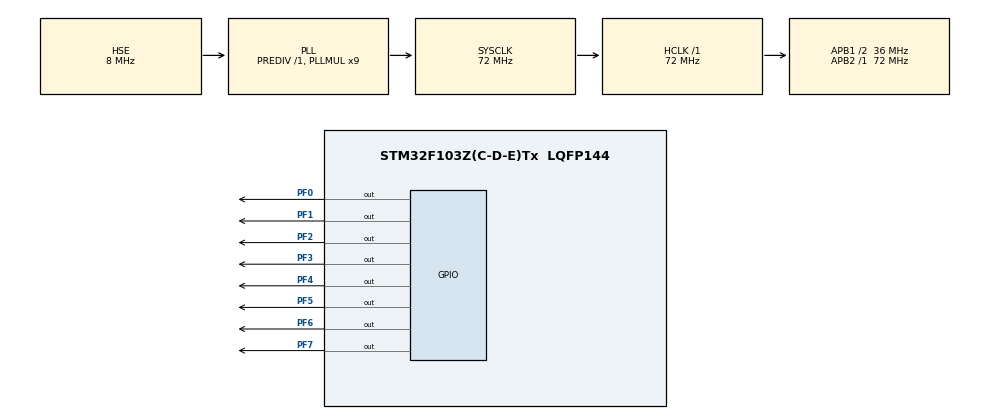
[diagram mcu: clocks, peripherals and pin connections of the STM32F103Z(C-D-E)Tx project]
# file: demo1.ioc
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Mcu.Family=STM32F1
Mcu.Name=STM32F103Z(C-D-E)Tx
Mcu.Package=LQFP144
NVIC.PriorityGroup=NVIC_PRIORITYGROUP_4
OSC_IN.Mode=HSE-External-Oscillator
OSC_IN.Signal=RCC_OSC_IN
OSC_OUT.Mode=HSE-External-Oscillator
OSC_OUT.Signal=RCC_OSC_OUT
PA13.Mode=Serial_Wire
PA13.Signal=SYS_JTMS-SWDIO
PA14.Mode=Serial_Wire
PA14.Signal=SYS_JTCK-SWCLK
PF0.Signal=GPIO_Output
PF1.Signal=GPIO_Output
PF2.Signal=GPIO_Output
PF3.Signal=GPIO_Output
PF4.Signal=GPIO_Output
PF5.Signal=GPIO_Output
PF6.Signal=GPIO_Output
PF7.Signal=GPIO_Output
ProjectManager.HeapSize=0x200
ProjectManager.StackSize=0x400
ProjectManager.TargetToolchain=MDK-ARM V5.32
RCC.AHBFreq_Value=72000000
RCC.APB1CLKDivider=RCC_HCLK_DIV2
RCC.APB1Freq_Value=36000000
RCC.APB1TimFreq_Value=72000000
RCC.APB2Freq_Value=72000000
RCC.APB2TimFreq_Value=72000000
RCC.HCLKFreq_Value=72000000
RCC.PLLMUL=RCC_PLL_MUL9
RCC.PLLSourceVirtual=RCC_PLLSOURCE_HSE
RCC.SYSCLKFreq_VALUE=72000000
RCC.SYSCLKSource=RCC_SYSCLKSOURCE_PLLCLK
RCC.USBFreq_Value=72000000
board=custom

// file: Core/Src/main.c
/* USER CODE BEGIN Header */
/**
  ******************************************************************************
  * @file           : main.c
  * @brief          : Main program body
  ******************************************************************************
  * @attention
  *
  * Copyright (c) 2025 STMicroelectronics.
  * All rights reserved.
  *
  * This software is licensed under terms that can be found in the LICENSE file
  * in the root directory of this software component.
  * If no LICENSE file comes with this software, it is provided AS-IS.
  *
  ******************************************************************************
  */
/* USER CODE END Header */
#include "main.h"
#include "gpio.h"

/* USER CODE BEGIN Includes */
#include <includes.h>
#include "stm32f1xx_hal.h"
/* USER CODE END Includes */

/* USER CODE BEGIN PD */
#define START_TASK_PRIO        3
#define LED0_TASK_PRIO        4
#define MSG_TASK_PRIO        5

/* 任务堆栈大小    */
#define START_STK_SIZE         64
#define LED0_STK_SIZE         64
#define MSG_STK_SIZE         64//任务堆大小过大会报错，可以试着改小一点

/* 任务栈 */
CPU_STK START_TASK_STK[START_STK_SIZE];
CPU_STK LED0_TASK_STK[LED0_STK_SIZE];
CPU_STK MSG_TASK_STK[MSG_STK_SIZE];
/* 任务控制块 */
OS_TCB StartTaskTCB;
OS_TCB Led0TaskTCB;
OS_TCB MsgTaskTCB;
/* USER CODE END PD */

/* USER CODE BEGIN PV */

/* 任务函数定义 */
void start_task(void *p_arg);
static  void  AppTaskCreate(void);
static  void  AppObjCreate(void);
static  void  led_pc13(void *p_arg);
static  void  send_msg(void *p_arg);

/* USER CODE END PV */

void SystemClock_Config(void);

int main(void)
{
  /* USER CODE BEGIN 1 */
    OS_ERR  err;
    OSInit(&err);
  /* USER CODE END 1 */

  /* MCU Configuration--------------------------------------------------------*/

  /* Reset of all peripherals, Initializes the Flash interface and the Systick. */
  HAL_Init();

  /* Configure the system clock */
  SystemClock_Config();

  /* Initialize all configured peripherals */
  MX_GPIO_Init();
  /* USER CODE BEGIN 2 */

    /* 创建任务 */
    OSTaskCreate((OS_TCB     *)&StartTaskTCB,                /* Create the start task                                */
                 (CPU_CHAR   *)"start task",
                 (OS_TASK_PTR ) start_task,
                 (void       *) 0,
                 (OS_PRIO     ) START_TASK_PRIO,
                 (CPU_STK    *)&START_TASK_STK[0],
                 (CPU_STK_SIZE) START_STK_SIZE/10,
                 (CPU_STK_SIZE) START_STK_SIZE,
                 (OS_MSG_QTY  ) 0,
                 (OS_TICK     ) 0,
                 (void       *) 0,
                 (OS_OPT      )(OS_OPT_TASK_STK_CHK | OS_OPT_TASK_STK_CLR),
                 (OS_ERR     *)&err);
    /* 启动多任务系统，控制权交给uC/OS-III */
    OSStart(&err);            /* Start multitasking (i.e. give control to uC/OS-III). */

  /* USER CODE END 2 */

  /* Infinite loop */
  while (1)
  {

  }
}

void SystemClock_Config(void)
{
  RCC_OscInitTypeDef RCC_OscInitStruct = {0};
  RCC_ClkInitTypeDef RCC_ClkInitStruct = {0};

  /** Initializes the RCC Oscillators according to the specified parameters
  * in the RCC_OscInitTypeDef structure.
  */
  RCC_OscInitStruct.OscillatorType = RCC_OSCILLATORTYPE_HSE;
  RCC_OscInitStruct.HSEState = RCC_HSE_ON;
  RCC_OscInitStruct.HSEPredivValue = RCC_HSE_PREDIV_DIV1;
  RCC_OscInitStruct.HSIState = RCC_HSI_ON;
  RCC_OscInitStruct.PLL.PLLState = RCC_PLL_ON;
  RCC_OscInitStruct.PLL.PLLSource = RCC_PLLSOURCE_HSE;
  RCC_OscInitStruct.PLL.PLLMUL = RCC_PLL_MUL9;
  if (HAL_RCC_OscConfig(&RCC_OscInitStruct) != HAL_OK)
  {
    Error_Handler();
  }

  /** Initializes the CPU, AHB and APB buses clocks
  */
  RCC_ClkInitStruct.ClockType = RCC_CLOCKTYPE_HCLK|RCC_CLOCKTYPE_SYSCLK
                              |RCC_CLOCKTYPE_PCLK1|RCC_CLOCKTYPE_PCLK2;
  RCC_ClkInitStruct.SYSCLKSource = RCC_SYSCLKSOURCE_PLLCLK;
  RCC_ClkInitStruct.AHBCLKDivider = RCC_SYSCLK_DIV1;
  RCC_ClkInitStruct.APB1CLKDivider = RCC_HCLK_DIV2;
  RCC_ClkInitStruct.APB2CLKDivider = RCC_HCLK_DIV1;

  if (HAL_RCC_ClockConfig(&RCC_ClkInitStruct, FLASH_LATENCY_2) != HAL_OK)
  {
    Error_Handler();
  }
}

/* USER CODE BEGIN 4 */

void start_task(void *p_arg)
{
    OS_ERR err;
    CPU_SR_ALLOC();
    p_arg = p_arg;

    /* YangJie add 2021.05.20*/
  BSP_Init();                                                   /* Initialize BSP functions */
  //CPU_Init();
  //Mem_Init();                                                 /* Initialize Memory Management Module */

#if OS_CFG_STAT_TASK_EN > 0u
   OSStatTaskCPUUsageInit(&err);          //统计任务
#endif

#ifdef CPU_CFG_INT_DIS_MEAS_EN            //如果使能了测量中断关闭时间
    CPU_IntDisMeasMaxCurReset();
#endif

#if    OS_CFG_SCHED_ROUND_ROBIN_EN          //当使用时间片轮转的时候
     //使能时间片轮转调度功能,时间片长度为1个系统时钟节拍，既1*5=5ms
    OSSchedRoundRobinCfg(DEF_ENABLED,1,&err);
#endif

    OS_CRITICAL_ENTER();    //进入临界区
    /* 创建LED0任务 */
    OSTaskCreate((OS_TCB     * )&Led0TaskTCB,
                 (CPU_CHAR    * )"led_pc13",
                 (OS_TASK_PTR )led_pc13,
                 (void        * )0,
                 (OS_PRIO      )LED0_TASK_PRIO,
                 (CPU_STK   * )&LED0_TASK_STK[0],
                 (CPU_STK_SIZE)LED0_STK_SIZE/10,
                 (CPU_STK_SIZE)LED0_STK_SIZE,
                 (OS_MSG_QTY  )0,
                 (OS_TICK      )0,
                 (void       * )0,
                 (OS_OPT      )OS_OPT_TASK_STK_CHK|OS_OPT_TASK_STK_CLR,
                 (OS_ERR     * )&err);

//    /* 创建LED1任务 */
//    OSTaskCreate((OS_TCB     * )&MsgTaskTCB,
//                 (CPU_CHAR    * )"send_msg",
//                 (OS_TASK_PTR )send_msg,
//                 (void        * )0,
//                 (OS_PRIO      )MSG_TASK_PRIO,
//                 (CPU_STK   * )&MSG_TASK_STK[0],
//                 (CPU_STK_SIZE)MSG_STK_SIZE/10,
//                 (CPU_STK_SIZE)MSG_STK_SIZE,
//                 (OS_MSG_QTY  )0,
//                 (OS_TICK      )0,
//                 (void       * )0,
//                 (OS_OPT      )OS_OPT_TASK_STK_CHK|OS_OPT_TASK_STK_CLR,
//                 (OS_ERR     * )&err);
//
//    OS_TaskSuspend((OS_TCB*)&StartTaskTCB,&err);        //挂起开始任务
//    OS_CRITICAL_EXIT();    //进入临界区
}

/**
  * 函数功能: 启动任务函数体。
  * 输入参数: p_arg 是在创建该任务时传递的形参
  * 返 回 值: 无
  * 说    明：无
  */
static  void  led_pc13 (void *p_arg)
{
  OS_ERR      err;

  (void)p_arg;

  BSP_Init();                                                 /* Initialize BSP functions                             */
  CPU_Init();

  Mem_Init();                                                 /* Initialize Memory Management Module                  */

#if OS_CFG_STAT_TASK_EN > 0u
  OSStatTaskCPUUsageInit(&err);                               /* Compute CPU capacity with no task running            */
#endif

  CPU_IntDisMeasMaxCurReset();

  AppTaskCreate();                                            /* Create Application Tasks                             */

  AppObjCreate();                                             /* Create Application Objects                           */

  while (DEF_TRUE)
  {
        HAL_GPIO_WritePin(GPIOF,GPIO_PIN_0,GPIO_PIN_RESET);
        OSTimeDlyHMSM(0, 0, 0, 500,OS_OPT_TIME_HMSM_STRICT,&err);
        HAL_GPIO_WritePin(GPIOF,GPIO_PIN_0,GPIO_PIN_SET);
        OSTimeDlyHMSM(0, 0, 0, 500,OS_OPT_TIME_HMSM_STRICT,&err);
    /* usercode END WHILE */

    /* usercode BEGIN 3 */
  }
  /* usercode END 3 */
}

static  void  send_msg (void *p_arg)
{
  OS_ERR      err;

  (void)p_arg;

  BSP_Init();                                                 /* Initialize BSP functions                             */
  CPU_Init();

  Mem_Init();                                                 /* Initialize Memory Management Module                  */

#if OS_CFG_STAT_TASK_EN > 0u
  OSStatTaskCPUUsageInit(&err);                               /* Compute CPU capacity with no task running            */
#endif

  CPU_IntDisMeasMaxCurReset();

  AppTaskCreate();                                            /* Create Application Tasks                             */

  AppObjCreate();                                             /* Create Application Objects                           */

  while (DEF_TRUE)
  {
            printf("hello world \r\n");
        OSTimeDlyHMSM(0, 0, 0, 500,OS_OPT_TIME_HMSM_STRICT,&err);
    /* USERCODE END WHILE */

    /* USERCODE BEGIN 3 */
  }
  /* USERCODE END 3 */
}

/* usercode BEGIN 4 */
/**
  * 函数功能: 创建应用任务
  * 输入参数: p_arg 是在创建该任务时传递的形参
  * 返 回 值: 无
  * 说    明：无
  */
static  void  AppTaskCreate (void)
{

}

/**
  * 函数功能: uCOSIII内核对象创建
  * 输入参数: 无
  * 返 回 值: 无
  * 说    明：无
  */
static  void  AppObjCreate (void)
{

}

/* USER CODE END 4 */

void Error_Handler(void)
{
  __disable_irq();
  while (1)
  {
  }
}
